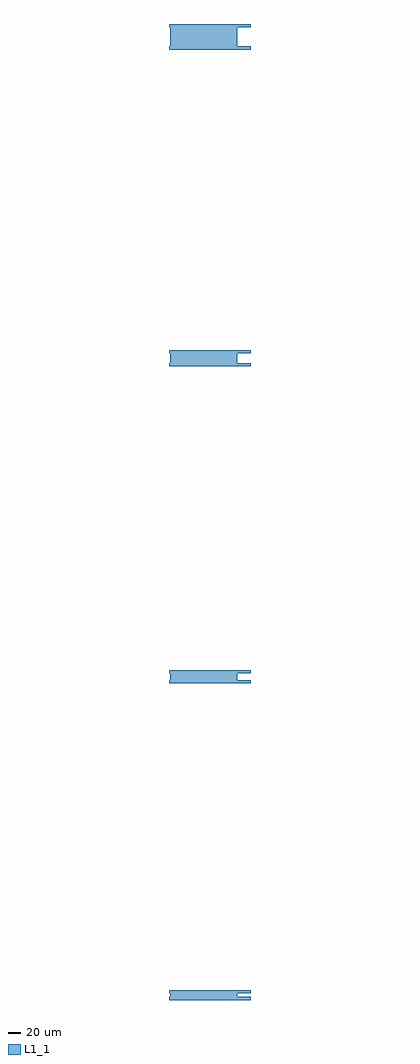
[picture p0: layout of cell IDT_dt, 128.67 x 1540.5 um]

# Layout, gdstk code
import gdstk
lib = gdstk.Library(unit=1e-6, precision=1e-09)
def P(c, l, *ps):  # polygons
    for p in ps: c.add(gdstk.Polygon(p, *l))
L1_1 = (1, 1)

idt_dt = lib.new_cell('IDT_dt')
P(idt_dt, L1_1, [(2048.38,2),(2048.38,-3),(2049.72,-3),(2049.72,2),(2050.16,2),(2050.16,-3),(2051.5,-3),(2051.5,2),(2051.94,2),(2051.94,-3),(2053.28,-3),(2053.28,2),(2053.72,2),(2053.72,-3),(2055.06,-3),(2055.06,2),(2055.5,2),(2055.5,-3),(2056.84,-3),(2056.84,2),(2057.28,2),(2057.28,-3),(2058.62,-3),(2058.62,2),(2059.06,2),(2059.06,-3),(2060.4,-3),(2060.4,2),(2060.84,2),(2060.84,-3),(2062.18,-3),(2062.18,2),(2062.62,2),(2062.62,-3),(2063.96,-3),(2063.96,2),(2064.4,2),(2064.4,-3),(2065.74,-3),(2065.74,2),(2066.18,2),(2066.18,-3),(2067.52,-3),(2067.52,2),(2067.96,2),(2067.96,-3),(2069.3,-3),(2069.3,2),(2069.74,2),(2069.74,-3),(2071.08,-3),(2071.08,2),(2071.52,2),(2071.52,-3),(2072.86,-3),(2072.86,2),(2073.3,2),(2073.3,-3),(2074.64,-3),(2074.64,2),(2075.08,2),(2075.08,-3),(2076.42,-3),(2076.42,2),(2076.86,2),(2076.86,-3),(2078.2,-3),(2078.2,2),(2078.64,2),(2078.64,-3),(2079.98,-3),(2079.98,2),(2080.42,2),(2080.42,-3),(2081.76,-3),(2081.76,2),(2082.2,2),(2082.2,-3),(2083.54,-3),(2083.54,2),(2083.98,2),(2083.98,-3),(2085.32,-3),(2085.32,2),(2085.76,2),(2085.76,-3),(2087.1,-3),(2087.1,2),(2087.54,2),(2087.54,-3),(2088.88,-3),(2088.88,2),(2089.32,2),(2089.32,-3),(2090.66,-3),(2090.66,2),(2091.1,2),(2091.1,-3),(2092.44,-3),(2092.44,2),(2092.88,2),(2092.88,-3),(2094.22,-3),(2094.22,2),(2094.66,2),(2094.66,-3),(2096,-3),(2096,2),(2096.44,2),(2096.44,-3),(2097.78,-3),(2097.78,2),(2098.22,2),(2098.22,-3),(2099.56,-3),(2099.56,2),(2100,2),(2100,-3),(2101.34,-3),(2101.34,2),(2101.78,2),(2101.78,-3),(2103.12,-3),(2103.12,2),(2103.56,2),(2103.56,-3),(2104.9,-3),(2104.9,2),(2105.34,2),(2105.34,-3),(2106.68,-3),(2106.68,2),(2107.12,2),(2107.12,-3),(2108.46,-3),(2108.46,2),(2108.9,2),(2108.9,-3),(2110.24,-3),(2110.24,2),(2110.68,2),(2110.68,-3),(2112.02,-3),(2112.02,2),(2112.46,2),(2112.46,-3),(2113.8,-3),(2113.8,2),(2114.24,2),(2114.24,-3),(2115.58,-3),(2115.58,2),(2116.02,2),(2116.02,-3),(2117.36,-3),(2117.36,2),(2117.8,2),(2117.8,-3),(2119.14,-3),(2119.14,2),(2119.58,2),(2119.58,-3),(2120.92,-3),(2120.92,2),(2121.36,2),(2121.36,-3),(2122.7,-3),(2122.7,2),(2123.14,2),(2123.14,-3),(2124.48,-3),(2124.48,2),(2124.92,2),(2124.92,-3),(2126.26,-3),(2126.26,2),(2126.7,2),(2126.7,-3),(2128.04,-3),(2128.04,2),(2128.48,2),(2128.48,-3),(2129.82,-3),(2129.82,2),(2130.26,2),(2130.26,-3),(2131.6,-3),(2131.6,2),(2132.04,2),(2132.04,-3),(2133.38,-3),(2133.38,2),(2133.82,2),(2133.82,-3),(2135.16,-3),(2135.16,2),(2135.6,2),(2135.6,-3),(2136.94,-3),(2136.94,2),(2137.38,2),(2137.38,-3),(2138.72,-3),(2138.72,2),(2139.16,2),(2139.16,-3),(2140.5,-3),(2140.5,2),(2140.94,2),(2140.94,-3),(2142.28,-3),(2142.28,2),(2142.72,2),(2142.72,-3),(2144.06,-3),(2144.06,2),(2144.5,2),(2144.5,-3),(2145.84,-3),(2145.84,2),(2146.28,2),(2146.28,-3),(2147.62,-3),(2147.62,2),(2148.06,2),(2148.06,-3),(2149.4,-3),(2149.4,2),(2149.84,2),(2149.84,-3),(2151.18,-3),(2151.18,2),(2151.62,2),(2151.62,-3),(2152.96,-3),(2152.96,2),(2153.4,2),(2153.4,-3),(2175.267,-3),(2175.267,-8),(2046.6,-8),(2046.6,-3),(2047.94,-3),(2047.94,2),(2048.38,2)],
  [(2050.61,-2.5),(2050.61,2.5),(2049.27,2.5),(2049.27,-2.5),(2048.83,-2.5),(2048.83,2.5),(2046.6,2.5),(2046.6,7.5),(2175.267,7.5),(2175.267,2.5),(2154.29,2.5),(2154.29,-2.5),(2153.85,-2.5),(2153.85,2.5),(2152.51,2.5),(2152.51,-2.5),(2152.07,-2.5),(2152.07,2.5),(2150.73,2.5),(2150.73,-2.5),(2150.29,-2.5),(2150.29,2.5),(2148.95,2.5),(2148.95,-2.5),(2148.51,-2.5),(2148.51,2.5),(2147.17,2.5),(2147.17,-2.5),(2146.73,-2.5),(2146.73,2.5),(2145.39,2.5),(2145.39,-2.5),(2144.95,-2.5),(2144.95,2.5),(2143.61,2.5),(2143.61,-2.5),(2143.17,-2.5),(2143.17,2.5),(2141.83,2.5),(2141.83,-2.5),(2141.39,-2.5),(2141.39,2.5),(2140.05,2.5),(2140.05,-2.5),(2139.61,-2.5),(2139.61,2.5),(2138.27,2.5),(2138.27,-2.5),(2137.83,-2.5),(2137.83,2.5),(2136.49,2.5),(2136.49,-2.5),(2136.05,-2.5),(2136.05,2.5),(2134.71,2.5),(2134.71,-2.5),(2134.27,-2.5),(2134.27,2.5),(2132.93,2.5),(2132.93,-2.5),(2132.49,-2.5),(2132.49,2.5),(2131.15,2.5),(2131.15,-2.5),(2130.71,-2.5),(2130.71,2.5),(2129.37,2.5),(2129.37,-2.5),(2128.93,-2.5),(2128.93,2.5),(2127.59,2.5),(2127.59,-2.5),(2127.15,-2.5),(2127.15,2.5),(2125.81,2.5),(2125.81,-2.5),(2125.37,-2.5),(2125.37,2.5),(2124.03,2.5),(2124.03,-2.5),(2123.59,-2.5),(2123.59,2.5),(2122.25,2.5),(2122.25,-2.5),(2121.81,-2.5),(2121.81,2.5),(2120.47,2.5),(2120.47,-2.5),(2120.03,-2.5),(2120.03,2.5),(2118.69,2.5),(2118.69,-2.5),(2118.25,-2.5),(2118.25,2.5),(2116.91,2.5),(2116.91,-2.5),(2116.47,-2.5),(2116.47,2.5),(2115.13,2.5),(2115.13,-2.5),(2114.69,-2.5),(2114.69,2.5),(2113.35,2.5),(2113.35,-2.5),(2112.91,-2.5),(2112.91,2.5),(2111.57,2.5),(2111.57,-2.5),(2111.13,-2.5),(2111.13,2.5),(2109.79,2.5),(2109.79,-2.5),(2109.35,-2.5),(2109.35,2.5),(2108.01,2.5),(2108.01,-2.5),(2107.57,-2.5),(2107.57,2.5),(2106.23,2.5),(2106.23,-2.5),(2105.79,-2.5),(2105.79,2.5),(2104.45,2.5),(2104.45,-2.5),(2104.01,-2.5),(2104.01,2.5),(2102.67,2.5),(2102.67,-2.5),(2102.23,-2.5),(2102.23,2.5),(2100.89,2.5),(2100.89,-2.5),(2100.45,-2.5),(2100.45,2.5),(2099.11,2.5),(2099.11,-2.5),(2098.67,-2.5),(2098.67,2.5),(2097.33,2.5),(2097.33,-2.5),(2096.89,-2.5),(2096.89,2.5),(2095.55,2.5),(2095.55,-2.5),(2095.11,-2.5),(2095.11,2.5),(2093.77,2.5),(2093.77,-2.5),(2093.33,-2.5),(2093.33,2.5),(2091.99,2.5),(2091.99,-2.5),(2091.55,-2.5),(2091.55,2.5),(2090.21,2.5),(2090.21,-2.5),(2089.77,-2.5),(2089.77,2.5),(2088.43,2.5),(2088.43,-2.5),(2087.99,-2.5),(2087.99,2.5),(2086.65,2.5),(2086.65,-2.5),(2086.21,-2.5),(2086.21,2.5),(2084.87,2.5),(2084.87,-2.5),(2084.43,-2.5),(2084.43,2.5),(2083.09,2.5),(2083.09,-2.5),(2082.65,-2.5),(2082.65,2.5),(2081.31,2.5),(2081.31,-2.5),(2080.87,-2.5),(2080.87,2.5),(2079.53,2.5),(2079.53,-2.5),(2079.09,-2.5),(2079.09,2.5),(2077.75,2.5),(2077.75,-2.5),(2077.31,-2.5),(2077.31,2.5),(2075.97,2.5),(2075.97,-2.5),(2075.53,-2.5),(2075.53,2.5),(2074.19,2.5),(2074.19,-2.5),(2073.75,-2.5),(2073.75,2.5),(2072.41,2.5),(2072.41,-2.5),(2071.97,-2.5),(2071.97,2.5),(2070.63,2.5),(2070.63,-2.5),(2070.19,-2.5),(2070.19,2.5),(2068.85,2.5),(2068.85,-2.5),(2068.41,-2.5),(2068.41,2.5),(2067.07,2.5),(2067.07,-2.5),(2066.63,-2.5),(2066.63,2.5),(2065.29,2.5),(2065.29,-2.5),(2064.85,-2.5),(2064.85,2.5),(2063.51,2.5),(2063.51,-2.5),(2063.07,-2.5),(2063.07,2.5),(2061.73,2.5),(2061.73,-2.5),(2061.29,-2.5),(2061.29,2.5),(2059.95,2.5),(2059.95,-2.5),(2059.51,-2.5),(2059.51,2.5),(2058.17,2.5),(2058.17,-2.5),(2057.73,-2.5),(2057.73,2.5),(2056.39,2.5),(2056.39,-2.5),(2055.95,-2.5),(2055.95,2.5),(2054.61,2.5),(2054.61,-2.5),(2054.17,-2.5),(2054.17,2.5),(2052.83,2.5),(2052.83,-2.5),(2052.39,-2.5),(2052.39,2.5),(2051.05,2.5),(2051.05,-2.5),(2050.61,-2.5)],
  [(2048.38,507),(2048.38,497),(2049.72,497),(2049.72,507),(2050.16,507),(2050.16,497),(2051.5,497),(2051.5,507),(2051.94,507),(2051.94,497),(2053.28,497),(2053.28,507),(2053.72,507),(2053.72,497),(2055.06,497),(2055.06,507),(2055.5,507),(2055.5,497),(2056.84,497),(2056.84,507),(2057.28,507),(2057.28,497),(2058.62,497),(2058.62,507),(2059.06,507),(2059.06,497),(2060.4,497),(2060.4,507),(2060.84,507),(2060.84,497),(2062.18,497),(2062.18,507),(2062.62,507),(2062.62,497),(2063.96,497),(2063.96,507),(2064.4,507),(2064.4,497),(2065.74,497),(2065.74,507),(2066.18,507),(2066.18,497),(2067.52,497),(2067.52,507),(2067.96,507),(2067.96,497),(2069.3,497),(2069.3,507),(2069.74,507),(2069.74,497),(2071.08,497),(2071.08,507),(2071.52,507),(2071.52,497),(2072.86,497),(2072.86,507),(2073.3,507),(2073.3,497),(2074.64,497),(2074.64,507),(2075.08,507),(2075.08,497),(2076.42,497),(2076.42,507),(2076.86,507),(2076.86,497),(2078.2,497),(2078.2,507),(2078.64,507),(2078.64,497),(2079.98,497),(2079.98,507),(2080.42,507),(2080.42,497),(2081.76,497),(2081.76,507),(2082.2,507),(2082.2,497),(2083.54,497),(2083.54,507),(2083.98,507),(2083.98,497),(2085.32,497),(2085.32,507),(2085.76,507),(2085.76,497),(2087.1,497),(2087.1,507),(2087.54,507),(2087.54,497),(2088.88,497),(2088.88,507),(2089.32,507),(2089.32,497),(2090.66,497),(2090.66,507),(2091.1,507),(2091.1,497),(2092.44,497),(2092.44,507),(2092.88,507),(2092.88,497),(2094.22,497),(2094.22,507),(2094.66,507),(2094.66,497),(2096,497),(2096,507),(2096.44,507),(2096.44,497),(2097.78,497),(2097.78,507),(2098.22,507),(2098.22,497),(2099.56,497),(2099.56,507),(2100,507),(2100,497),(2101.34,497),(2101.34,507),(2101.78,507),(2101.78,497),(2103.12,497),(2103.12,507),(2103.56,507),(2103.56,497),(2104.9,497),(2104.9,507),(2105.34,507),(2105.34,497),(2106.68,497),(2106.68,507),(2107.12,507),(2107.12,497),(2108.46,497),(2108.46,507),(2108.9,507),(2108.9,497),(2110.24,497),(2110.24,507),(2110.68,507),(2110.68,497),(2112.02,497),(2112.02,507),(2112.46,507),(2112.46,497),(2113.8,497),(2113.8,507),(2114.24,507),(2114.24,497),(2115.58,497),(2115.58,507),(2116.02,507),(2116.02,497),(2117.36,497),(2117.36,507),(2117.8,507),(2117.8,497),(2119.14,497),(2119.14,507),(2119.58,507),(2119.58,497),(2120.92,497),(2120.92,507),(2121.36,507),(2121.36,497),(2122.7,497),(2122.7,507),(2123.14,507),(2123.14,497),(2124.48,497),(2124.48,507),(2124.92,507),(2124.92,497),(2126.26,497),(2126.26,507),(2126.7,507),(2126.7,497),(2128.04,497),(2128.04,507),(2128.48,507),(2128.48,497),(2129.82,497),(2129.82,507),(2130.26,507),(2130.26,497),(2131.6,497),(2131.6,507),(2132.04,507),(2132.04,497),(2133.38,497),(2133.38,507),(2133.82,507),(2133.82,497),(2135.16,497),(2135.16,507),(2135.6,507),(2135.6,497),(2136.94,497),(2136.94,507),(2137.38,507),(2137.38,497),(2138.72,497),(2138.72,507),(2139.16,507),(2139.16,497),(2140.5,497),(2140.5,507),(2140.94,507),(2140.94,497),(2142.28,497),(2142.28,507),(2142.72,507),(2142.72,497),(2144.06,497),(2144.06,507),(2144.5,507),(2144.5,497),(2145.84,497),(2145.84,507),(2146.28,507),(2146.28,497),(2147.62,497),(2147.62,507),(2148.06,507),(2148.06,497),(2149.4,497),(2149.4,507),(2149.84,507),(2149.84,497),(2151.18,497),(2151.18,507),(2151.62,507),(2151.62,497),(2152.96,497),(2152.96,507),(2153.4,507),(2153.4,497),(2175.267,497),(2175.267,492),(2046.6,492),(2046.6,497),(2047.94,497),(2047.94,507),(2048.38,507)],
  [(2048.83,497.5),(2048.83,507.5),(2046.6,507.5),(2046.6,512.5),(2175.267,512.5),(2175.267,507.5),(2154.29,507.5),(2154.29,497.5),(2153.85,497.5),(2153.85,507.5),(2152.51,507.5),(2152.51,497.5),(2152.07,497.5),(2152.07,507.5),(2150.73,507.5),(2150.73,497.5),(2150.29,497.5),(2150.29,507.5),(2148.95,507.5),(2148.95,497.5),(2148.51,497.5),(2148.51,507.5),(2147.17,507.5),(2147.17,497.5),(2146.73,497.5),(2146.73,507.5),(2145.39,507.5),(2145.39,497.5),(2144.95,497.5),(2144.95,507.5),(2143.61,507.5),(2143.61,497.5),(2143.17,497.5),(2143.17,507.5),(2141.83,507.5),(2141.83,497.5),(2141.39,497.5),(2141.39,507.5),(2140.05,507.5),(2140.05,497.5),(2139.61,497.5),(2139.61,507.5),(2138.27,507.5),(2138.27,497.5),(2137.83,497.5),(2137.83,507.5),(2136.49,507.5),(2136.49,497.5),(2136.05,497.5),(2136.05,507.5),(2134.71,507.5),(2134.71,497.5),(2134.27,497.5),(2134.27,507.5),(2132.93,507.5),(2132.93,497.5),(2132.49,497.5),(2132.49,507.5),(2131.15,507.5),(2131.15,497.5),(2130.71,497.5),(2130.71,507.5),(2129.37,507.5),(2129.37,497.5),(2128.93,497.5),(2128.93,507.5),(2127.59,507.5),(2127.59,497.5),(2127.15,497.5),(2127.15,507.5),(2125.81,507.5),(2125.81,497.5),(2125.37,497.5),(2125.37,507.5),(2124.03,507.5),(2124.03,497.5),(2123.59,497.5),(2123.59,507.5),(2122.25,507.5),(2122.25,497.5),(2121.81,497.5),(2121.81,507.5),(2120.47,507.5),(2120.47,497.5),(2120.03,497.5),(2120.03,507.5),(2118.69,507.5),(2118.69,497.5),(2118.25,497.5),(2118.25,507.5),(2116.91,507.5),(2116.91,497.5),(2116.47,497.5),(2116.47,507.5),(2115.13,507.5),(2115.13,497.5),(2114.69,497.5),(2114.69,507.5),(2113.35,507.5),(2113.35,497.5),(2112.91,497.5),(2112.91,507.5),(2111.57,507.5),(2111.57,497.5),(2111.13,497.5),(2111.13,507.5),(2109.79,507.5),(2109.79,497.5),(2109.35,497.5),(2109.35,507.5),(2108.01,507.5),(2108.01,497.5),(2107.57,497.5),(2107.57,507.5),(2106.23,507.5),(2106.23,497.5),(2105.79,497.5),(2105.79,507.5),(2104.45,507.5),(2104.45,497.5),(2104.01,497.5),(2104.01,507.5),(2102.67,507.5),(2102.67,497.5),(2102.23,497.5),(2102.23,507.5),(2100.89,507.5),(2100.89,497.5),(2100.45,497.5),(2100.45,507.5),(2099.11,507.5),(2099.11,497.5),(2098.67,497.5),(2098.67,507.5),(2097.33,507.5),(2097.33,497.5),(2096.89,497.5),(2096.89,507.5),(2095.55,507.5),(2095.55,497.5),(2095.11,497.5),(2095.11,507.5),(2093.77,507.5),(2093.77,497.5),(2093.33,497.5),(2093.33,507.5),(2091.99,507.5),(2091.99,497.5),(2091.55,497.5),(2091.55,507.5),(2090.21,507.5),(2090.21,497.5),(2089.77,497.5),(2089.77,507.5),(2088.43,507.5),(2088.43,497.5),(2087.99,497.5),(2087.99,507.5),(2086.65,507.5),(2086.65,497.5),(2086.21,497.5),(2086.21,507.5),(2084.87,507.5),(2084.87,497.5),(2084.43,497.5),(2084.43,507.5),(2083.09,507.5),(2083.09,497.5),(2082.65,497.5),(2082.65,507.5),(2081.31,507.5),(2081.31,497.5),(2080.87,497.5),(2080.87,507.5),(2079.53,507.5),(2079.53,497.5),(2079.09,497.5),(2079.09,507.5),(2077.75,507.5),(2077.75,497.5),(2077.31,497.5),(2077.31,507.5),(2075.97,507.5),(2075.97,497.5),(2075.53,497.5),(2075.53,507.5),(2074.19,507.5),(2074.19,497.5),(2073.75,497.5),(2073.75,507.5),(2072.41,507.5),(2072.41,497.5),(2071.97,497.5),(2071.97,507.5),(2070.63,507.5),(2070.63,497.5),(2070.19,497.5),(2070.19,507.5),(2068.85,507.5),(2068.85,497.5),(2068.41,497.5),(2068.41,507.5),(2067.07,507.5),(2067.07,497.5),(2066.63,497.5),(2066.63,507.5),(2065.29,507.5),(2065.29,497.5),(2064.85,497.5),(2064.85,507.5),(2063.51,507.5),(2063.51,497.5),(2063.07,497.5),(2063.07,507.5),(2061.73,507.5),(2061.73,497.5),(2061.29,497.5),(2061.29,507.5),(2059.95,507.5),(2059.95,497.5),(2059.51,497.5),(2059.51,507.5),(2058.17,507.5),(2058.17,497.5),(2057.73,497.5),(2057.73,507.5),(2056.39,507.5),(2056.39,497.5),(2055.95,497.5),(2055.95,507.5),(2054.61,507.5),(2054.61,497.5),(2054.17,497.5),(2054.17,507.5),(2052.83,507.5),(2052.83,497.5),(2052.39,497.5),(2052.39,507.5),(2051.05,507.5),(2051.05,497.5),(2050.61,497.5),(2050.61,507.5),(2049.27,507.5),(2049.27,497.5),(2048.83,497.5)],
  [(2048.38,1012),(2048.38,997),(2049.72,997),(2049.72,1012),(2050.16,1012),(2050.16,997),(2051.5,997),(2051.5,1012),(2051.94,1012),(2051.94,997),(2053.28,997),(2053.28,1012),(2053.72,1012),(2053.72,997),(2055.06,997),(2055.06,1012),(2055.5,1012),(2055.5,997),(2056.84,997),(2056.84,1012),(2057.28,1012),(2057.28,997),(2058.62,997),(2058.62,1012),(2059.06,1012),(2059.06,997),(2060.4,997),(2060.4,1012),(2060.84,1012),(2060.84,997),(2062.18,997),(2062.18,1012),(2062.62,1012),(2062.62,997),(2063.96,997),(2063.96,1012),(2064.4,1012),(2064.4,997),(2065.74,997),(2065.74,1012),(2066.18,1012),(2066.18,997),(2067.52,997),(2067.52,1012),(2067.96,1012),(2067.96,997),(2069.3,997),(2069.3,1012),(2069.74,1012),(2069.74,997),(2071.08,997),(2071.08,1012),(2071.52,1012),(2071.52,997),(2072.86,997),(2072.86,1012),(2073.3,1012),(2073.3,997),(2074.64,997),(2074.64,1012),(2075.08,1012),(2075.08,997),(2076.42,997),(2076.42,1012),(2076.86,1012),(2076.86,997),(2078.2,997),(2078.2,1012),(2078.64,1012),(2078.64,997),(2079.98,997),(2079.98,1012),(2080.42,1012),(2080.42,997),(2081.76,997),(2081.76,1012),(2082.2,1012),(2082.2,997),(2083.54,997),(2083.54,1012),(2083.98,1012),(2083.98,997),(2085.32,997),(2085.32,1012),(2085.76,1012),(2085.76,997),(2087.1,997),(2087.1,1012),(2087.54,1012),(2087.54,997),(2088.88,997),(2088.88,1012),(2089.32,1012),(2089.32,997),(2090.66,997),(2090.66,1012),(2091.1,1012),(2091.1,997),(2092.44,997),(2092.44,1012),(2092.88,1012),(2092.88,997),(2094.22,997),(2094.22,1012),(2094.66,1012),(2094.66,997),(2096,997),(2096,1012),(2096.44,1012),(2096.44,997),(2097.78,997),(2097.78,1012),(2098.22,1012),(2098.22,997),(2099.56,997),(2099.56,1012),(2100,1012),(2100,997),(2101.34,997),(2101.34,1012),(2101.78,1012),(2101.78,997),(2103.12,997),(2103.12,1012),(2103.56,1012),(2103.56,997),(2104.9,997),(2104.9,1012),(2105.34,1012),(2105.34,997),(2106.68,997),(2106.68,1012),(2107.12,1012),(2107.12,997),(2108.46,997),(2108.46,1012),(2108.9,1012),(2108.9,997),(2110.24,997),(2110.24,1012),(2110.68,1012),(2110.68,997),(2112.02,997),(2112.02,1012),(2112.46,1012),(2112.46,997),(2113.8,997),(2113.8,1012),(2114.24,1012),(2114.24,997),(2115.58,997),(2115.58,1012),(2116.02,1012),(2116.02,997),(2117.36,997),(2117.36,1012),(2117.8,1012),(2117.8,997),(2119.14,997),(2119.14,1012),(2119.58,1012),(2119.58,997),(2120.92,997),(2120.92,1012),(2121.36,1012),(2121.36,997),(2122.7,997),(2122.7,1012),(2123.14,1012),(2123.14,997),(2124.48,997),(2124.48,1012),(2124.92,1012),(2124.92,997),(2126.26,997),(2126.26,1012),(2126.7,1012),(2126.7,997),(2128.04,997),(2128.04,1012),(2128.48,1012),(2128.48,997),(2129.82,997),(2129.82,1012),(2130.26,1012),(2130.26,997),(2131.6,997),(2131.6,1012),(2132.04,1012),(2132.04,997),(2133.38,997),(2133.38,1012),(2133.82,1012),(2133.82,997),(2135.16,997),(2135.16,1012),(2135.6,1012),(2135.6,997),(2136.94,997),(2136.94,1012),(2137.38,1012),(2137.38,997),(2138.72,997),(2138.72,1012),(2139.16,1012),(2139.16,997),(2140.5,997),(2140.5,1012),(2140.94,1012),(2140.94,997),(2142.28,997),(2142.28,1012),(2142.72,1012),(2142.72,997),(2144.06,997),(2144.06,1012),(2144.5,1012),(2144.5,997),(2145.84,997),(2145.84,1012),(2146.28,1012),(2146.28,997),(2147.62,997),(2147.62,1012),(2148.06,1012),(2148.06,997),(2149.4,997),(2149.4,1012),(2149.84,1012),(2149.84,997),(2151.18,997),(2151.18,1012),(2151.62,1012),(2151.62,997),(2152.96,997),(2152.96,1012),(2153.4,1012),(2153.4,997),(2175.267,997),(2175.267,992),(2046.6,992),(2046.6,997),(2047.94,997),(2047.94,1012),(2048.38,1012)],
  [(2052.39,997.5),(2052.39,1012.5),(2051.05,1012.5),(2051.05,997.5),(2050.61,997.5),(2050.61,1012.5),(2049.27,1012.5),(2049.27,997.5),(2048.83,997.5),(2048.83,1012.5),(2046.6,1012.5),(2046.6,1017.5),(2175.267,1017.5),(2175.267,1012.5),(2154.29,1012.5),(2154.29,997.5),(2153.85,997.5),(2153.85,1012.5),(2152.51,1012.5),(2152.51,997.5),(2152.07,997.5),(2152.07,1012.5),(2150.73,1012.5),(2150.73,997.5),(2150.29,997.5),(2150.29,1012.5),(2148.95,1012.5),(2148.95,997.5),(2148.51,997.5),(2148.51,1012.5),(2147.17,1012.5),(2147.17,997.5),(2146.73,997.5),(2146.73,1012.5),(2145.39,1012.5),(2145.39,997.5),(2144.95,997.5),(2144.95,1012.5),(2143.61,1012.5),(2143.61,997.5),(2143.17,997.5),(2143.17,1012.5),(2141.83,1012.5),(2141.83,997.5),(2141.39,997.5),(2141.39,1012.5),(2140.05,1012.5),(2140.05,997.5),(2139.61,997.5),(2139.61,1012.5),(2138.27,1012.5),(2138.27,997.5),(2137.83,997.5),(2137.83,1012.5),(2136.49,1012.5),(2136.49,997.5),(2136.05,997.5),(2136.05,1012.5),(2134.71,1012.5),(2134.71,997.5),(2134.27,997.5),(2134.27,1012.5),(2132.93,1012.5),(2132.93,997.5),(2132.49,997.5),(2132.49,1012.5),(2131.15,1012.5),(2131.15,997.5),(2130.71,997.5),(2130.71,1012.5),(2129.37,1012.5),(2129.37,997.5),(2128.93,997.5),(2128.93,1012.5),(2127.59,1012.5),(2127.59,997.5),(2127.15,997.5),(2127.15,1012.5),(2125.81,1012.5),(2125.81,997.5),(2125.37,997.5),(2125.37,1012.5),(2124.03,1012.5),(2124.03,997.5),(2123.59,997.5),(2123.59,1012.5),(2122.25,1012.5),(2122.25,997.5),(2121.81,997.5),(2121.81,1012.5),(2120.47,1012.5),(2120.47,997.5),(2120.03,997.5),(2120.03,1012.5),(2118.69,1012.5),(2118.69,997.5),(2118.25,997.5),(2118.25,1012.5),(2116.91,1012.5),(2116.91,997.5),(2116.47,997.5),(2116.47,1012.5),(2115.13,1012.5),(2115.13,997.5),(2114.69,997.5),(2114.69,1012.5),(2113.35,1012.5),(2113.35,997.5),(2112.91,997.5),(2112.91,1012.5),(2111.57,1012.5),(2111.57,997.5),(2111.13,997.5),(2111.13,1012.5),(2109.79,1012.5),(2109.79,997.5),(2109.35,997.5),(2109.35,1012.5),(2108.01,1012.5),(2108.01,997.5),(2107.57,997.5),(2107.57,1012.5),(2106.23,1012.5),(2106.23,997.5),(2105.79,997.5),(2105.79,1012.5),(2104.45,1012.5),(2104.45,997.5),(2104.01,997.5),(2104.01,1012.5),(2102.67,1012.5),(2102.67,997.5),(2102.23,997.5),(2102.23,1012.5),(2100.89,1012.5),(2100.89,997.5),(2100.45,997.5),(2100.45,1012.5),(2099.11,1012.5),(2099.11,997.5),(2098.67,997.5),(2098.67,1012.5),(2097.33,1012.5),(2097.33,997.5),(2096.89,997.5),(2096.89,1012.5),(2095.55,1012.5),(2095.55,997.5),(2095.11,997.5),(2095.11,1012.5),(2093.77,1012.5),(2093.77,997.5),(2093.33,997.5),(2093.33,1012.5),(2091.99,1012.5),(2091.99,997.5),(2091.55,997.5),(2091.55,1012.5),(2090.21,1012.5),(2090.21,997.5),(2089.77,997.5),(2089.77,1012.5),(2088.43,1012.5),(2088.43,997.5),(2087.99,997.5),(2087.99,1012.5),(2086.65,1012.5),(2086.65,997.5),(2086.21,997.5),(2086.21,1012.5),(2084.87,1012.5),(2084.87,997.5),(2084.43,997.5),(2084.43,1012.5),(2083.09,1012.5),(2083.09,997.5),(2082.65,997.5),(2082.65,1012.5),(2081.31,1012.5),(2081.31,997.5),(2080.87,997.5),(2080.87,1012.5),(2079.53,1012.5),(2079.53,997.5),(2079.09,997.5),(2079.09,1012.5),(2077.75,1012.5),(2077.75,997.5),(2077.31,997.5),(2077.31,1012.5),(2075.97,1012.5),(2075.97,997.5),(2075.53,997.5),(2075.53,1012.5),(2074.19,1012.5),(2074.19,997.5),(2073.75,997.5),(2073.75,1012.5),(2072.41,1012.5),(2072.41,997.5),(2071.97,997.5),(2071.97,1012.5),(2070.63,1012.5),(2070.63,997.5),(2070.19,997.5),(2070.19,1012.5),(2068.85,1012.5),(2068.85,997.5),(2068.41,997.5),(2068.41,1012.5),(2067.07,1012.5),(2067.07,997.5),(2066.63,997.5),(2066.63,1012.5),(2065.29,1012.5),(2065.29,997.5),(2064.85,997.5),(2064.85,1012.5),(2063.51,1012.5),(2063.51,997.5),(2063.07,997.5),(2063.07,1012.5),(2061.73,1012.5),(2061.73,997.5),(2061.29,997.5),(2061.29,1012.5),(2059.95,1012.5),(2059.95,997.5),(2059.51,997.5),(2059.51,1012.5),(2058.17,1012.5),(2058.17,997.5),(2057.73,997.5),(2057.73,1012.5),(2056.39,1012.5),(2056.39,997.5),(2055.95,997.5),(2055.95,1012.5),(2054.61,1012.5),(2054.61,997.5),(2054.17,997.5),(2054.17,1012.5),(2052.83,1012.5),(2052.83,997.5),(2052.39,997.5)],
  [(2048.38,1527),(2048.38,1497),(2049.72,1497),(2049.72,1527),(2050.16,1527),(2050.16,1497),(2051.5,1497),(2051.5,1527),(2051.94,1527),(2051.94,1497),(2053.28,1497),(2053.28,1527),(2053.72,1527),(2053.72,1497),(2055.06,1497),(2055.06,1527),(2055.5,1527),(2055.5,1497),(2056.84,1497),(2056.84,1527),(2057.28,1527),(2057.28,1497),(2058.62,1497),(2058.62,1527),(2059.06,1527),(2059.06,1497),(2060.4,1497),(2060.4,1527),(2060.84,1527),(2060.84,1497),(2062.18,1497),(2062.18,1527),(2062.62,1527),(2062.62,1497),(2063.96,1497),(2063.96,1527),(2064.4,1527),(2064.4,1497),(2065.74,1497),(2065.74,1527),(2066.18,1527),(2066.18,1497),(2067.52,1497),(2067.52,1527),(2067.96,1527),(2067.96,1497),(2069.3,1497),(2069.3,1527),(2069.74,1527),(2069.74,1497),(2071.08,1497),(2071.08,1527),(2071.52,1527),(2071.52,1497),(2072.86,1497),(2072.86,1527),(2073.3,1527),(2073.3,1497),(2074.64,1497),(2074.64,1527),(2075.08,1527),(2075.08,1497),(2076.42,1497),(2076.42,1527),(2076.86,1527),(2076.86,1497),(2078.2,1497),(2078.2,1527),(2078.64,1527),(2078.64,1497),(2079.98,1497),(2079.98,1527),(2080.42,1527),(2080.42,1497),(2081.76,1497),(2081.76,1527),(2082.2,1527),(2082.2,1497),(2083.54,1497),(2083.54,1527),(2083.98,1527),(2083.98,1497),(2085.32,1497),(2085.32,1527),(2085.76,1527),(2085.76,1497),(2087.1,1497),(2087.1,1527),(2087.54,1527),(2087.54,1497),(2088.88,1497),(2088.88,1527),(2089.32,1527),(2089.32,1497),(2090.66,1497),(2090.66,1527),(2091.1,1527),(2091.1,1497),(2092.44,1497),(2092.44,1527),(2092.88,1527),(2092.88,1497),(2094.22,1497),(2094.22,1527),(2094.66,1527),(2094.66,1497),(2096,1497),(2096,1527),(2096.44,1527),(2096.44,1497),(2097.78,1497),(2097.78,1527),(2098.22,1527),(2098.22,1497),(2099.56,1497),(2099.56,1527),(2100,1527),(2100,1497),(2101.34,1497),(2101.34,1527),(2101.78,1527),(2101.78,1497),(2103.12,1497),(2103.12,1527),(2103.56,1527),(2103.56,1497),(2104.9,1497),(2104.9,1527),(2105.34,1527),(2105.34,1497),(2106.68,1497),(2106.68,1527),(2107.12,1527),(2107.12,1497),(2108.46,1497),(2108.46,1527),(2108.9,1527),(2108.9,1497),(2110.24,1497),(2110.24,1527),(2110.68,1527),(2110.68,1497),(2112.02,1497),(2112.02,1527),(2112.46,1527),(2112.46,1497),(2113.8,1497),(2113.8,1527),(2114.24,1527),(2114.24,1497),(2115.58,1497),(2115.58,1527),(2116.02,1527),(2116.02,1497),(2117.36,1497),(2117.36,1527),(2117.8,1527),(2117.8,1497),(2119.14,1497),(2119.14,1527),(2119.58,1527),(2119.58,1497),(2120.92,1497),(2120.92,1527),(2121.36,1527),(2121.36,1497),(2122.7,1497),(2122.7,1527),(2123.14,1527),(2123.14,1497),(2124.48,1497),(2124.48,1527),(2124.92,1527),(2124.92,1497),(2126.26,1497),(2126.26,1527),(2126.7,1527),(2126.7,1497),(2128.04,1497),(2128.04,1527),(2128.48,1527),(2128.48,1497),(2129.82,1497),(2129.82,1527),(2130.26,1527),(2130.26,1497),(2131.6,1497),(2131.6,1527),(2132.04,1527),(2132.04,1497),(2133.38,1497),(2133.38,1527),(2133.82,1527),(2133.82,1497),(2135.16,1497),(2135.16,1527),(2135.6,1527),(2135.6,1497),(2136.94,1497),(2136.94,1527),(2137.38,1527),(2137.38,1497),(2138.72,1497),(2138.72,1527),(2139.16,1527),(2139.16,1497),(2140.5,1497),(2140.5,1527),(2140.94,1527),(2140.94,1497),(2142.28,1497),(2142.28,1527),(2142.72,1527),(2142.72,1497),(2144.06,1497),(2144.06,1527),(2144.5,1527),(2144.5,1497),(2145.84,1497),(2145.84,1527),(2146.28,1527),(2146.28,1497),(2147.62,1497),(2147.62,1527),(2148.06,1527),(2148.06,1497),(2149.4,1497),(2149.4,1527),(2149.84,1527),(2149.84,1497),(2151.18,1497),(2151.18,1527),(2151.62,1527),(2151.62,1497),(2152.96,1497),(2152.96,1527),(2153.4,1527),(2153.4,1497),(2175.267,1497),(2175.267,1492),(2046.6,1492),(2046.6,1497),(2047.94,1497),(2047.94,1527),(2048.38,1527)],
  [(2055.95,1497.5),(2055.95,1527.5),(2054.61,1527.5),(2054.61,1497.5),(2054.17,1497.5),(2054.17,1527.5),(2052.83,1527.5),(2052.83,1497.5),(2052.39,1497.5),(2052.39,1527.5),(2051.05,1527.5),(2051.05,1497.5),(2050.61,1497.5),(2050.61,1527.5),(2049.27,1527.5),(2049.27,1497.5),(2048.83,1497.5),(2048.83,1527.5),(2046.6,1527.5),(2046.6,1532.5),(2175.267,1532.5),(2175.267,1527.5),(2154.29,1527.5),(2154.29,1497.5),(2153.85,1497.5),(2153.85,1527.5),(2152.51,1527.5),(2152.51,1497.5),(2152.07,1497.5),(2152.07,1527.5),(2150.73,1527.5),(2150.73,1497.5),(2150.29,1497.5),(2150.29,1527.5),(2148.95,1527.5),(2148.95,1497.5),(2148.51,1497.5),(2148.51,1527.5),(2147.17,1527.5),(2147.17,1497.5),(2146.73,1497.5),(2146.73,1527.5),(2145.39,1527.5),(2145.39,1497.5),(2144.95,1497.5),(2144.95,1527.5),(2143.61,1527.5),(2143.61,1497.5),(2143.17,1497.5),(2143.17,1527.5),(2141.83,1527.5),(2141.83,1497.5),(2141.39,1497.5),(2141.39,1527.5),(2140.05,1527.5),(2140.05,1497.5),(2139.61,1497.5),(2139.61,1527.5),(2138.27,1527.5),(2138.27,1497.5),(2137.83,1497.5),(2137.83,1527.5),(2136.49,1527.5),(2136.49,1497.5),(2136.05,1497.5),(2136.05,1527.5),(2134.71,1527.5),(2134.71,1497.5),(2134.27,1497.5),(2134.27,1527.5),(2132.93,1527.5),(2132.93,1497.5),(2132.49,1497.5),(2132.49,1527.5),(2131.15,1527.5),(2131.15,1497.5),(2130.71,1497.5),(2130.71,1527.5),(2129.37,1527.5),(2129.37,1497.5),(2128.93,1497.5),(2128.93,1527.5),(2127.59,1527.5),(2127.59,1497.5),(2127.15,1497.5),(2127.15,1527.5),(2125.81,1527.5),(2125.81,1497.5),(2125.37,1497.5),(2125.37,1527.5),(2124.03,1527.5),(2124.03,1497.5),(2123.59,1497.5),(2123.59,1527.5),(2122.25,1527.5),(2122.25,1497.5),(2121.81,1497.5),(2121.81,1527.5),(2120.47,1527.5),(2120.47,1497.5),(2120.03,1497.5),(2120.03,1527.5),(2118.69,1527.5),(2118.69,1497.5),(2118.25,1497.5),(2118.25,1527.5),(2116.91,1527.5),(2116.91,1497.5),(2116.47,1497.5),(2116.47,1527.5),(2115.13,1527.5),(2115.13,1497.5),(2114.69,1497.5),(2114.69,1527.5),(2113.35,1527.5),(2113.35,1497.5),(2112.91,1497.5),(2112.91,1527.5),(2111.57,1527.5),(2111.57,1497.5),(2111.13,1497.5),(2111.13,1527.5),(2109.79,1527.5),(2109.79,1497.5),(2109.35,1497.5),(2109.35,1527.5),(2108.01,1527.5),(2108.01,1497.5),(2107.57,1497.5),(2107.57,1527.5),(2106.23,1527.5),(2106.23,1497.5),(2105.79,1497.5),(2105.79,1527.5),(2104.45,1527.5),(2104.45,1497.5),(2104.01,1497.5),(2104.01,1527.5),(2102.67,1527.5),(2102.67,1497.5),(2102.23,1497.5),(2102.23,1527.5),(2100.89,1527.5),(2100.89,1497.5),(2100.45,1497.5),(2100.45,1527.5),(2099.11,1527.5),(2099.11,1497.5),(2098.67,1497.5),(2098.67,1527.5),(2097.33,1527.5),(2097.33,1497.5),(2096.89,1497.5),(2096.89,1527.5),(2095.55,1527.5),(2095.55,1497.5),(2095.11,1497.5),(2095.11,1527.5),(2093.77,1527.5),(2093.77,1497.5),(2093.33,1497.5),(2093.33,1527.5),(2091.99,1527.5),(2091.99,1497.5),(2091.55,1497.5),(2091.55,1527.5),(2090.21,1527.5),(2090.21,1497.5),(2089.77,1497.5),(2089.77,1527.5),(2088.43,1527.5),(2088.43,1497.5),(2087.99,1497.5),(2087.99,1527.5),(2086.65,1527.5),(2086.65,1497.5),(2086.21,1497.5),(2086.21,1527.5),(2084.87,1527.5),(2084.87,1497.5),(2084.43,1497.5),(2084.43,1527.5),(2083.09,1527.5),(2083.09,1497.5),(2082.65,1497.5),(2082.65,1527.5),(2081.31,1527.5),(2081.31,1497.5),(2080.87,1497.5),(2080.87,1527.5),(2079.53,1527.5),(2079.53,1497.5),(2079.09,1497.5),(2079.09,1527.5),(2077.75,1527.5),(2077.75,1497.5),(2077.31,1497.5),(2077.31,1527.5),(2075.97,1527.5),(2075.97,1497.5),(2075.53,1497.5),(2075.53,1527.5),(2074.19,1527.5),(2074.19,1497.5),(2073.75,1497.5),(2073.75,1527.5),(2072.41,1527.5),(2072.41,1497.5),(2071.97,1497.5),(2071.97,1527.5),(2070.63,1527.5),(2070.63,1497.5),(2070.19,1497.5),(2070.19,1527.5),(2068.85,1527.5),(2068.85,1497.5),(2068.41,1497.5),(2068.41,1527.5),(2067.07,1527.5),(2067.07,1497.5),(2066.63,1497.5),(2066.63,1527.5),(2065.29,1527.5),(2065.29,1497.5),(2064.85,1497.5),(2064.85,1527.5),(2063.51,1527.5),(2063.51,1497.5),(2063.07,1497.5),(2063.07,1527.5),(2061.73,1527.5),(2061.73,1497.5),(2061.29,1497.5),(2061.29,1527.5),(2059.95,1527.5),(2059.95,1497.5),(2059.51,1497.5),(2059.51,1527.5),(2058.17,1527.5),(2058.17,1497.5),(2057.73,1497.5),(2057.73,1527.5),(2056.39,1527.5),(2056.39,1497.5),(2055.95,1497.5)])

lib.write_gds('IDT_dt.gds')
